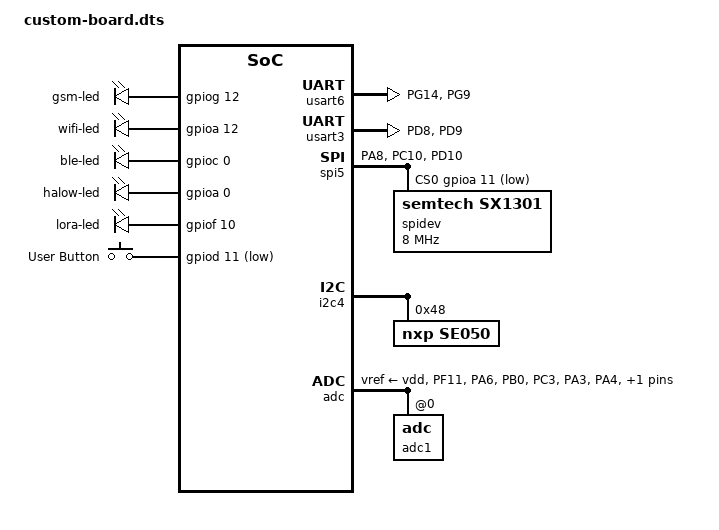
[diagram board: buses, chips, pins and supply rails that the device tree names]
// SPDX-License-Identifier: (GPL-2.0+ OR MIT)
/*
 * Custom board device tree overlay for VisionSOM-STM32MP1 (SLS18)
 *
 * Configures the following peripherals for the custom carrier board:
 *
 *   Peripheral      | Pins                                   | Interface
 *   ----------------+----------------------------------------+----------
 *   GSM/SIM7600 RX  | PG14 (USART6_TX → board GSM_RX)       | USART6
 *   GSM/SIM7600 TX  | PG9  (USART6_RX → board GSM_TX)       | USART6
 *   GSM Reset       | PB6  (GPIO, active-low)                | GPIO
 *   GPS RX          | PD9  (USART3_RX)                       | USART3
 *   GPS TX          | PD8  (USART3_TX)                       | USART3
 *   LoRa SPI MOSI   | PA8  (SPI5_MOSI, AF5)                  | SPI5
 *   LoRa SPI MISO   | PD10 (SPI5_MISO, AF5)                  | SPI5
 *   LoRa SPI SCK    | PC10 (SPI5_SCK,  AF5)                  | SPI5
 *   LoRa CS0        | PA11 (GPIO, active-low)                | SPI CS
 *   LoRa Power EN   | PD12 (GPIO, active-high)               | GPIO
 *   LoRa MUX        | PB1  (GPIO)                            | GPIO
 *   LoRa Reset      | PG8  (GPIO, active-low)                | GPIO
 *   HSM SCL         | PE2  (I2C4_SCL) — already in base DTS  | I2C4
 *   HSM SDA         | PB7  (I2C4_SDA) — already in base DTS  | I2C4
 *   LED GSM         | PG12 (GPIO)                            | GPIO
 *   LED BLE         | PC0  (GPIO)                            | GPIO
 *   LED HaLow       | PA0  (GPIO)                            | GPIO
 *   LED LoRa        | PF10 (GPIO)                            | GPIO
 *   LED WiFi        | PA12 (GPIO) — replaces heartbeat LED   | GPIO
 *   User Button     | PD11 (GPIO, active-low, pull-up)       | GPIO key
 *   ADC Channels    | PF11 (ADC1_INP2), PA6 (ADC1_INP3),     | ADC1
 *                   | PB0 (ADC1_INP9), PC3 (ADC1_INP13),     |
 *                   | PA3 (ADC1_INP15), PA4 (ADC1_INP18),    |
 *                   | PA5 (ADC1_INP19)                       |
 *
 * NOTES:
 *   - PA11 was used as TIM1_CH4 (PWM LED) in the base DTS. We disable
 *     that PWM function here and use PA11 as SPI5 chip-select GPIO instead.
 *   - I2C4 is already active in the base DTS for the touchscreen on the
 *     dev board. On the custom board the touch controller is absent; the
 *     same I2C4 bus is reused for the HSM module and LoRa temp sensor.
 *   - The WiFi LED (PA12) was labeled "led1 / heartbeat" in the base DTS.
 *     We rename it to wifi-led and remove the heartbeat trigger.
 *   - USART6 note: PG14 is USART6_TX on the SoC side.  The modem (SIM7600)
 *     RX line connects to this pin — hence "GSM_RX" on the carrier board.
 */

/dts-v1/;
/plugin/;

#include <dt-bindings/gpio/gpio.h>
#include <dt-bindings/input/input.h>
#include <dt-bindings/pinctrl/stm32-pinfunc.h>

&pinctrl {
	/* ── USART6 (GSM / SIM7600) ─────────────────────────────────────── */
	usart6_pins_custom: usart6-custom-0 {
		pins1 {
			/* PG14 = USART6_TX (AF7) → carries data to modem RX */
			pinmux = <STM32_PINMUX('G', 14, AF7)>;
			bias-disable;
			drive-push-pull;
			slew-rate = <0>;
		};
		pins2 {
			/* PG9 = USART6_RX (AF7) → receives data from modem TX */
			pinmux = <STM32_PINMUX('G', 9, AF7)>;
			bias-disable;
		};
	};

	usart6_sleep_pins_custom: usart6-sleep-custom-0 {
		pins {
			pinmux = <STM32_PINMUX('G', 14, ANALOG)>,
			         <STM32_PINMUX('G', 9,  ANALOG)>;
		};
	};

	/* ── USART3 (GPS) ───────────────────────────────────────────────── */
	usart3_pins_custom: usart3-custom-0 {
		pins1 {
			/* PD8 = USART3_TX (AF7) → GPS RX */
			pinmux = <STM32_PINMUX('D', 8, AF7)>;
			bias-disable;
			drive-push-pull;
			slew-rate = <0>;
		};
		pins2 {
			/* PD9 = USART3_RX (AF7) → GPS TX */
			pinmux = <STM32_PINMUX('D', 9, AF7)>;
			bias-disable;
		};
	};

	usart3_sleep_pins_custom: usart3-sleep-custom-0 {
		pins {
			pinmux = <STM32_PINMUX('D', 8, ANALOG)>,
			         <STM32_PINMUX('D', 9, ANALOG)>;
		};
	};

	/* ── SPI5 (LoRa Concentrator) ───────────────────────────────────── */
	spi5_pins_custom: spi5-custom-0 {
		pins1 {
			/* PA8  = SPI5_MOSI (AF5) */
			/* PC10 = SPI5_SCK  (AF5) */
			pinmux = <STM32_PINMUX('A', 8,  AF5)>,
			         <STM32_PINMUX('C', 10, AF5)>;
			bias-disable;
			drive-push-pull;
			slew-rate = <1>;
		};
		pins2 {
			/* PD10 = SPI5_MISO (AF5) */
			pinmux = <STM32_PINMUX('D', 10, AF5)>;
			bias-disable;
		};
	};

	spi5_sleep_pins_custom: spi5-sleep-custom-0 {
		pins {
			pinmux = <STM32_PINMUX('A', 8,  ANALOG)>,
			         <STM32_PINMUX('C', 10, ANALOG)>,
			         <STM32_PINMUX('D', 10, ANALOG)>;
		};
	};

	/* ── ADC1 Custom Pins ────────────────────────────────────────────── */
	adc1_pins_custom: adc1-custom-0 {
		pins {
			pinmux = <STM32_PINMUX('F', 11, ANALOG)>, /* ADC1_INP2  (PF11) */
			         <STM32_PINMUX('A', 6,  ANALOG)>, /* ADC1_INP3  (PA6)  */
			         <STM32_PINMUX('B', 0,  ANALOG)>, /* ADC1_INP9  (PB0)  */
			         <STM32_PINMUX('C', 3,  ANALOG)>, /* ADC1_INP13 (PC3)  */
			         <STM32_PINMUX('A', 3,  ANALOG)>, /* ADC1_INP15 (PA3)  */
			         <STM32_PINMUX('A', 4,  ANALOG)>, /* ADC1_INP18 (PA4)  */
			         <STM32_PINMUX('A', 5,  ANALOG)>; /* ADC1_INP19 (PA5)  */
		};
	};
};

/* ── Disable TIM1 PWM on PA11 (needed as LoRa CS0 GPIO) ─────────────────── */
&timers1 {
	/delete-node/ pwm;
};

/* ── USART6 — GSM Modem (SIM7600) ───────────────────────────────────────── */
&usart6 {
	pinctrl-names = "default", "sleep";
	pinctrl-0 = <&usart6_pins_custom>;
	pinctrl-1 = <&usart6_sleep_pins_custom>;
	/delete-property/ dmas;
	/delete-property/ dma-names;
	status = "okay";
};

/* ── USART3 — GPS Receiver ───────────────────────────────────────────────── */
&usart3 {
	pinctrl-names = "default", "sleep";
	pinctrl-0 = <&usart3_pins_custom>;
	pinctrl-1 = <&usart3_sleep_pins_custom>;
	/delete-property/ dmas;
	/delete-property/ dma-names;
	status = "okay";
};

/* ── SPI5 — LoRa SX1302 Concentrator ────────────────────────────────────── */
&spi5 {
	pinctrl-names = "default", "sleep";
	pinctrl-0 = <&spi5_pins_custom>;
	pinctrl-1 = <&spi5_sleep_pins_custom>;
	cs-gpios = <&gpioa 11 GPIO_ACTIVE_LOW>;  /* PA11 = LORA_CS0 */
	status = "okay";

	/*
	 * sx1302 spidev node — exposed as /dev/spidev5.0
	 * basicstation accesses the concentrator directly via spidev.
	 */
	spidev@0 {
		compatible = "semtech,sx1301";
		reg = <0>;
		spi-max-frequency = <8000000>;
	};
};

/* ── I2C4 — HSM Module + LoRa Concentrator Temperature Sensor ───────────── */
/*
 * I2C4 (PE2=SCL, PB7=SDA) is already enabled in the base DTS.
 * On the custom board the touchscreen (ili2132a@41) is not populated.
 * We delete it and register placeholder labels for the HSM (address TBD).
 */
&i2c4 {
	/delete-node/ ili2132a_touch;

	/*
	 * NXP EdgeLock SE050E HSM on I2C address 0x48
	 */
	se050: se050@48 {
		compatible = "nxp,se050";
		reg = <0x48>;
		status = "okay";
	};
};

/ {
	/* ── LEDs ─────────────────────────────────────────────────────────── */
	/*
	 * Override the base DTS 'led' node to use our custom board LED names.
	 * PG12 = GSM_LED (was led3 in base)
	 * PA12 = WIFI_LED (was led1 / heartbeat in base)
	 * PC0  = BLE_LED  (new)
	 * PA0  = HALOW_LED (new)
	 * PF10 = LORA_LED (new)
	 */
	led {
		compatible = "gpio-leds";

		gsm-led {
			label = "gsm-led";
			gpios = <&gpiog 12 GPIO_ACTIVE_HIGH>;
			default-state = "off";
		};

		wifi-led {
			label = "wifi-led";
			gpios = <&gpioa 12 GPIO_ACTIVE_HIGH>;
			default-state = "off";
			/* heartbeat trigger from base DTS removed */
		};

		ble-led {
			label = "ble-led";
			gpios = <&gpioc 0 GPIO_ACTIVE_HIGH>;
			default-state = "off";
		};

		halow-led {
			label = "halow-led";
			gpios = <&gpioa 0 GPIO_ACTIVE_HIGH>;
			default-state = "off";
		};

		lora-led {
			label = "lora-led";
			gpios = <&gpiof 10 GPIO_ACTIVE_HIGH>;
			default-state = "off";
		};
	};

	/* ── User Button ──────────────────────────────────────────────────── */
	gpio-keys {
		compatible = "gpio-keys";

		user-button {
			label = "User Button";
			gpios = <&gpiod 11 (GPIO_ACTIVE_LOW | GPIO_PULL_UP)>;
			linux,code = <KEY_PROG1>;
			wakeup-source;
		};
	};

	/* ── LoRa Concentrator Control GPIOs ─────────────────────────────── */
	lora-gpio {
		compatible = "gpio-of-helper";

		lora-power-en {
			gpio-name = "lora-power-en";
			gpio = <&gpiod 12 GPIO_ACTIVE_HIGH>;   /* PD12 = LORA_POWER_EN */
			output;
			init-low;
		};

		lora-reset {
			gpio-name = "lora-reset";
			gpio = <&gpiog 8 GPIO_ACTIVE_LOW>;     /* PG8 = LORA_RESET */
			output;
			init-high;
		};

		lora-mux {
			gpio-name = "lora-mux";
			gpio = <&gpiob 1 GPIO_ACTIVE_HIGH>;    /* PB1 = LORA_MUX */
			output;
			init-low;
		};
	};

	/* ── GSM Modem Reset GPIO ─────────────────────────────────────────── */
	gsm-modem {
		compatible = "gpio-of-helper";

		gsm-reset {
			gpio-name = "gsm-reset";
			gpio = <&gpiob 6 GPIO_ACTIVE_LOW>;     /* PB6 = GSM_RST */
			output;
			init-high;  /* keep de-asserted (not in reset) */
		};
	};
};

/* ── Disable Display and Touchscreen Components (No Screen Connected) ───── */
&dsi {
	status = "disabled";
};

&ltdc {
	status = "disabled";
};

&panel_backlight {
	status = "disabled";
};

/ {
	/delete-node/ panel@0;
};

/* ── ADC1 (Analog-to-Digital Converter) ─────────────────────────────────── */
&adc {
	pinctrl-names = "default";
	pinctrl-0 = <&adc1_pins_custom>;
	vdd-supply = <&vdd>;
	vdda-supply = <&vdd>;
	vref-supply = <&vdd>;
	status = "okay";

	adc1: adc@0 {
		/* Channels: 2(PF11), 3(PA6), 9(PB0), 13(PC3), 15(PA3), 18(PA4), 19(PA5) */
		st,adc-channels = <2 3 9 13 15 18 19>;
		st,min-sample-time-nsecs = <5000>;
		status = "okay";
	};
};

